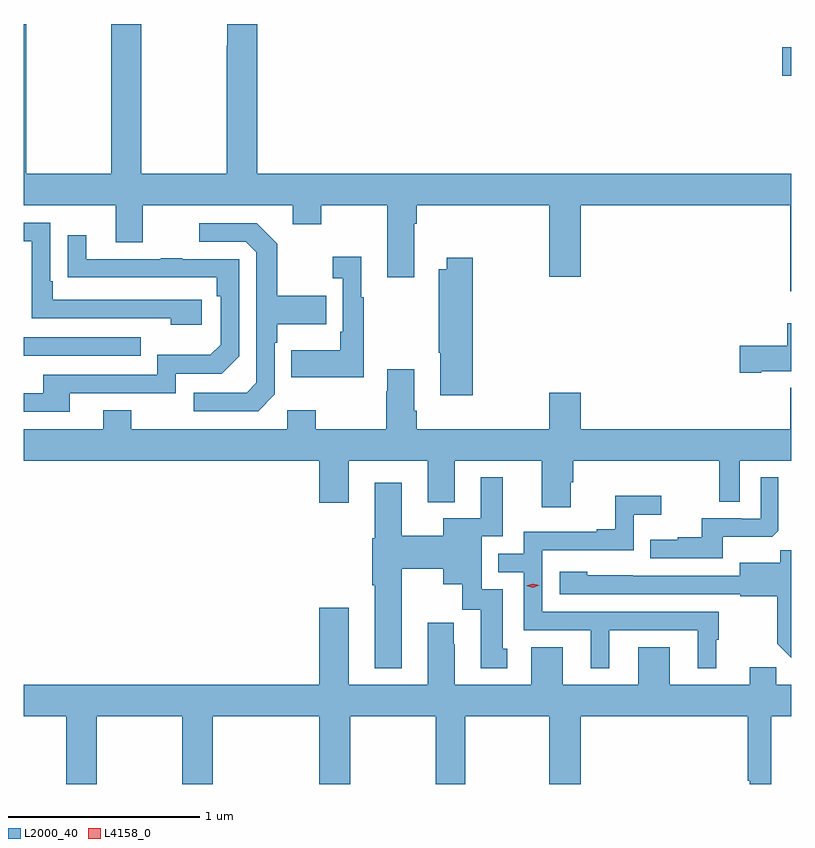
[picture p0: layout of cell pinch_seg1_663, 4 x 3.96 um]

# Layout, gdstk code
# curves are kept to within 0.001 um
import gdstk
lib = gdstk.Library(unit=1e-6, precision=1e-09)
def R(c, l, rs):  # rectangles x0, y0, x1, y1
    for r in rs: c.add(gdstk.rectangle(r[:2], r[2:], *l))
def P(c, l, *ps):  # polygons
    for p in ps: c.add(gdstk.Polygon(p, *l))
L2000_40 = (2000, 40)
L4158_0 = (4158, 0)

pinch_seg1_663 = lib.new_cell('pinch_seg1_663')
R(pinch_seg1_663, L2000_40, [(797.634,580.251,798.245,580.347), (801.588,581.711,801.634,581.858)])
P(pinch_seg1_663, L2000_40, [(801.634,581.2),(798.851,581.2),(798.851,581.98),(798.695,581.98),(798.695,581.867),(798.691,581.867),(798.691,581.2),(798.246,581.2),(798.246,581.98),(798.091,581.98),(798.091,581.2),(797.646,581.2),(797.646,581.98),(797.634,581.98),(797.634,581.036),(798.113,581.036),(798.113,580.842),(798.253,580.842),(798.253,581.036),(799.037,581.036),(799.037,580.937),(799.185,580.937),(799.185,581.036),(799.529,581.036),(799.529,580.659),(799.669,580.659),(799.669,580.94),(799.682,580.94),(799.682,581.036),(800.372,581.036),(800.372,580.662),(800.536,580.662),(800.536,581.036),(801.63,581.036),(801.63,580.587),(801.634,580.587)],
  [(798.562,580.542),(797.785,580.542),(797.785,580.639),(797.772,580.639),(797.772,580.944),(797.634,580.944),(797.634,580.848),(797.676,580.848),(797.676,580.446),(798.401,580.446),(798.401,580.412),(798.562,580.412)],
  [(798.942,580.05),(798.942,580.319),(798.955,580.319),(798.955,580.415),(799.211,580.415),(799.211,580.563),(798.955,580.563),(798.955,580.835),(798.849,580.941),(798.549,580.941),(798.549,580.845),(798.792,580.845),(798.846,580.791),(798.846,580.11),(798.795,580.059),(798.519,580.059),(798.519,579.963),(798.855,579.963)],
  [(797.875,580.056),(798.426,580.056),(798.426,580.158),(798.666,580.158),(798.756,580.248),(798.756,580.755),(798.461,580.755),(798.461,580.76),(798.349,580.76),(798.349,580.755),(797.959,580.755),(797.959,580.879),(797.863,580.879),(797.863,580.66),(798.64,580.659),(798.64,580.562),(798.66,580.562),(798.66,580.308),(798.607,580.255),(798.33,580.255),(798.33,580.152),(797.735,580.152),(797.735,580.056),(797.634,580.056),(797.634,579.96),(797.875,579.96)],
  [(799.405,580.555),(799.393,580.555),(799.393,580.768),(799.245,580.768),(799.245,580.655),(799.296,580.655),(799.296,580.375),(799.284,580.375),(799.284,580.279),(799.027,580.279),(799.027,580.139),(799.405,580.139)],
  [(799.973,580.762),(799.838,580.762),(799.838,580.702),(799.798,580.702),(799.798,580.267),(799.805,580.267),(799.805,580.044),(799.973,580.044)],
  [(801.478,580.169),(801.634,580.169),(801.634,580.42),(801.614,580.42),(801.614,580.304),(801.366,580.304),(801.366,580.162),(801.478,580.162)],
  [(800.485,579.591),(800.498,579.591),(800.498,579.704),(801.258,579.704),(801.258,579.49),(801.366,579.49),(801.366,579.704),(801.634,579.704),(801.634,580.084),(801.63,580.084),(801.63,579.868),(800.536,579.868),(800.536,580.057),(800.372,580.057),(800.372,579.868),(799.682,579.868),(799.682,579.964),(799.669,579.964),(799.669,580.18),(799.529,580.18),(799.529,580.067),(799.522,580.067),(799.522,579.868),(799.155,579.868),(799.155,579.967),(799.008,579.967),(799.008,579.868),(798.195,579.868),(798.195,579.967),(798.047,579.967),(798.047,579.868),(797.634,579.868),(797.634,579.704),(799.175,579.704),(799.175,579.486),(799.327,579.486),(799.327,579.704),(799.739,579.704),(799.739,579.488),(799.879,579.488),(799.879,579.704),(800.333,579.704),(800.333,579.462),(800.485,579.462)],
  [(801.277,579.308),(801.535,579.308),(801.567,579.339),(801.567,579.619),(801.474,579.619),(801.474,579.402),(801.374,579.402),(801.374,579.405),(801.167,579.405),(801.167,579.304),(801.043,579.304),(801.043,579.292),(800.899,579.292),(800.899,579.195),(801.277,579.195)],
  [(799.603,579.14),(799.82,579.14),(799.82,579.059),(799.919,579.059),(799.919,578.928),(800.015,578.928),(800.015,578.622),(800.155,578.622),(800.155,578.724),(800.131,578.724),(800.131,579.033),(800.022,579.033),(800.022,579.309),(800.131,579.309),(800.131,579.619),(800.015,579.619),(800.015,579.403),(799.82,579.403),(799.82,579.312),(799.603,579.312),(799.603,579.589),(799.463,579.589),(799.463,579.3),(799.451,579.3),(799.451,579.056),(799.463,579.056),(799.463,578.621),(799.603,578.621)],
  [(800.686,578.82),(801.146,578.82),(801.146,578.621),(801.244,578.621),(801.244,578.772),(801.256,578.772),(801.256,578.916),(800.337,578.916),(800.337,579.237),(800.814,579.237),(800.814,579.422),(800.956,579.422),(800.956,579.521),(800.716,579.521),(800.716,579.346),(800.621,579.346),(800.621,579.333),(800.241,579.333),(800.241,579.219),(800.108,579.219),(800.108,579.123),(800.241,579.123),(800.241,578.82),(800.588,578.82),(800.588,578.621),(800.686,578.621)],
  [(801.634,579.236),(801.576,579.236),(801.576,579.172),(801.365,579.172),(801.365,579.105),(800.571,579.106),(800.571,579.124),(800.427,579.124),(800.427,579.009),(801.369,579.009),(801.369,578.997),(801.561,578.997),(801.561,578.751),(801.634,578.678)],
  [(798.015,578.372),(798.46,578.372),(798.46,578.019),(798.62,578.019),(798.62,578.372),(799.175,578.372),(799.175,578.019),(799.335,578.019),(799.335,578.372),(799.78,578.372),(799.78,578.019),(799.935,578.019),(799.935,578.372),(800.372,578.372),(800.372,578.019),(800.536,578.019),(800.536,578.372),(801.408,578.372),(801.408,578.035),(801.418,578.035),(801.418,578.019),(801.529,578.019),(801.529,578.372),(801.634,578.372),(801.634,578.536),(801.557,578.536),(801.557,578.627),(801.419,578.627),(801.419,578.536),(801.001,578.536),(801.001,578.731),(800.837,578.731),(800.837,578.536),(800.443,578.536),(800.443,578.731),(800.279,578.731),(800.279,578.536),(799.879,578.536),(799.879,578.747),(799.876,578.747),(799.876,578.86),(799.739,578.86),(799.739,578.536),(799.327,578.536),(799.327,578.938),(799.175,578.938),(799.175,578.536),(797.634,578.536),(797.634,578.372),(797.855,578.372),(797.855,578.019),(798.015,578.019)])
P(pinch_seg1_663, L4158_0, [(800.287,579.043),(800.252,579.051),(800.252,579.051),(800.252,579.051),(800.286,579.063),(800.321,579.055),(800.321,579.055),(800.321,579.055)])

lib.write_gds('pinch_seg1_663.gds')
